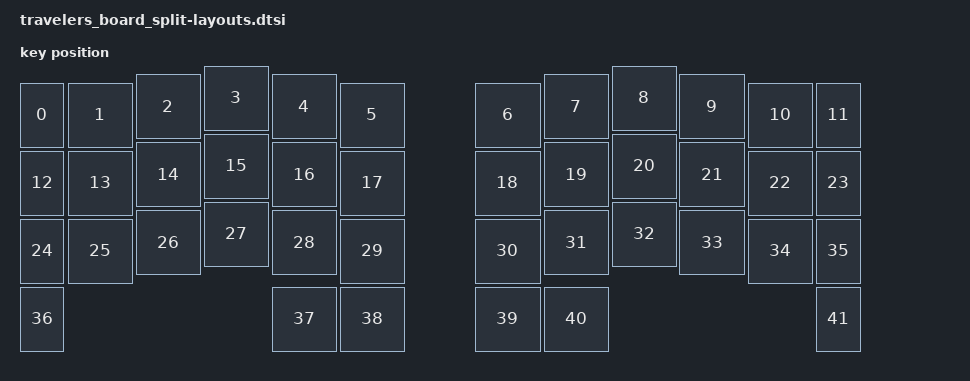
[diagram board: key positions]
/*
 * Physical coordinates use 136 units per 17 mm key pitch. This makes the
 * 17/8 mm column stagger (17 units), 17/4 mm thumb offset (34 units), and
 * 12 mm outer-key width (96 units) exact integers.
 */

#include <physical_layouts.dtsi>

/ {
    travelers_board_split_layout: travelers_board_split_layout {
        compatible = "zmk,physical-layout";
        display-name = "Travelers Board Split";
        transform = <&default_transform>;

        keys //                     w   h    x    y     rot    rx    ry
            = <&key_physical_attrs  96 136   40   34       0     0     0> /* R0 C0 */
            , <&key_physical_attrs 136 136  136   34       0     0     0> /* R0 C1 */
            , <&key_physical_attrs 136 136  272   17       0     0     0> /* R0 C2 */
            , <&key_physical_attrs 136 136  408    0       0     0     0> /* R0 C3: left middle */
            , <&key_physical_attrs 136 136  544   17       0     0     0> /* R0 C4 */
            , <&key_physical_attrs 136 136  680   34       0     0     0> /* R0 C5 */
            , <&key_physical_attrs 136 136  952   34       0     0     0> /* R0 C6 */
            , <&key_physical_attrs 136 136 1088   17       0     0     0> /* R0 C7 */
            , <&key_physical_attrs 136 136 1224    0       0     0     0> /* R0 C8: right middle */
            , <&key_physical_attrs 136 136 1360   17       0     0     0> /* R0 C9 */
            , <&key_physical_attrs 136 136 1496   34       0     0     0> /* R0 C10 */
            , <&key_physical_attrs  96 136 1632   34       0     0     0> /* R0 C11 */

            , <&key_physical_attrs  96 136   40  170       0     0     0> /* R1 C0 */
            , <&key_physical_attrs 136 136  136  170       0     0     0> /* R1 C1 */
            , <&key_physical_attrs 136 136  272  153       0     0     0> /* R1 C2 */
            , <&key_physical_attrs 136 136  408  136       0     0     0> /* R1 C3 */
            , <&key_physical_attrs 136 136  544  153       0     0     0> /* R1 C4 */
            , <&key_physical_attrs 136 136  680  170       0     0     0> /* R1 C5 */
            , <&key_physical_attrs 136 136  952  170       0     0     0> /* R1 C6 */
            , <&key_physical_attrs 136 136 1088  153       0     0     0> /* R1 C7 */
            , <&key_physical_attrs 136 136 1224  136       0     0     0> /* R1 C8 */
            , <&key_physical_attrs 136 136 1360  153       0     0     0> /* R1 C9 */
            , <&key_physical_attrs 136 136 1496  170       0     0     0> /* R1 C10 */
            , <&key_physical_attrs  96 136 1632  170       0     0     0> /* R1 C11 */

            , <&key_physical_attrs  96 136   40  306       0     0     0> /* R2 C0 */
            , <&key_physical_attrs 136 136  136  306       0     0     0> /* R2 C1 */
            , <&key_physical_attrs 136 136  272  289       0     0     0> /* R2 C2 */
            , <&key_physical_attrs 136 136  408  272       0     0     0> /* R2 C3 */
            , <&key_physical_attrs 136 136  544  289       0     0     0> /* R2 C4 */
            , <&key_physical_attrs 136 136  680  306       0     0     0> /* R2 C5 */
            , <&key_physical_attrs 136 136  952  306       0     0     0> /* R2 C6 */
            , <&key_physical_attrs 136 136 1088  289       0     0     0> /* R2 C7 */
            , <&key_physical_attrs 136 136 1224  272       0     0     0> /* R2 C8 */
            , <&key_physical_attrs 136 136 1360  289       0     0     0> /* R2 C9 */
            , <&key_physical_attrs 136 136 1496  306       0     0     0> /* R2 C10 */
            , <&key_physical_attrs  96 136 1632  306       0     0     0> /* R2 C11 */

            , <&key_physical_attrs  96 136   40  442       0     0     0> /* R3 C0 */
            , <&key_physical_attrs 136 136  544  442       0     0     0> /* R3 C4: left outer thumb */
            , <&key_physical_attrs 136 136  680  442       0     0     0> /* R3 C5: left inner thumb */
            , <&key_physical_attrs 136 136  952  442       0     0     0> /* R3 C6: right inner thumb */
            , <&key_physical_attrs 136 136 1088  442       0     0     0> /* R3 C7: right outer thumb */
            , <&key_physical_attrs  96 136 1632  442       0     0     0> /* R3 C11 */
            ;
    };
};
